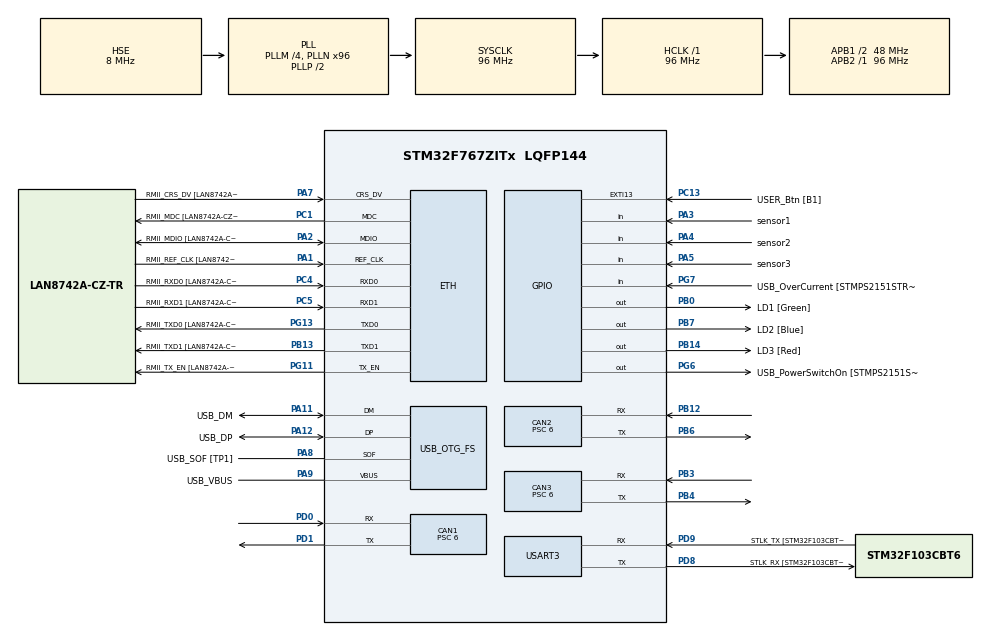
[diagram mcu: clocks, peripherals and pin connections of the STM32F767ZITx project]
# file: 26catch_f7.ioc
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CAN1.BS1=CAN_BS1_6TQ
CAN1.CalculateBaudRate=1000000
CAN1.CalculateTimeBit=1000
CAN1.CalculateTimeQuantum=125.0
CAN1.Prescaler=6
CAN1.TXFP=ENABLE
CAN2.BS1=CAN_BS1_6TQ
CAN2.CalculateBaudRate=1000000
CAN2.CalculateTimeBit=1000
CAN2.CalculateTimeQuantum=125.0
CAN2.Prescaler=6
CAN2.TXFP=ENABLE
CAN3.AutoBusOff=ENABLE
CAN3.AutoRetransmission=ENABLE
CAN3.BS1=CAN_BS1_6TQ
CAN3.CalculateBaudRate=1000000
CAN3.CalculateTimeBit=1000
CAN3.CalculateTimeQuantum=125.0
CAN3.Prescaler=6
CAN3.TXFP=ENABLE
CORTEX_M7.default_mode_Activation=1
ETH.MediaInterface=HAL_ETH_RMII_MODE
ETH.PHY_Name=LAN8742A_PHY_ADDRESS
ETH.PHY_Value=0
ETH.PhyAddress=0
FREERTOS.Tasks01=MROSTask,0,4096,StartMROSTask,Default,NULL,Static,defaultTaskBuffer,defaultTaskControlBlock;CanDevicesTask,0,1024,StartCanDevicesTask,Default,NULL,Static,CanDevicesTaskBuffer,CanDevicesTaskControlBlock;RobstrideTask,1,256,StartRobstrideTask,Default,NULL,Static,RobstrideTaskBuffer,RobstrideTaskControlBlock;RobomasTask,1,256,StartRobomasTask,Default,NULL,Static,RobomasTaskBuffer,RobomasTaskControlBlock
FREERTOS.configENABLE_FPU=1
FREERTOS.configUSE_TIMERS=1
LWIP.BSP.number=1
LWIP.IP_ADDRESS=192.168.005.010
LWIP.LWIP_DHCP=0
LWIP.LWIP_SO_RCVTIMEO=1
LWIP.NETMASK_ADDRESS=255.255.255.000
LWIP.Version=v2.1.2_Cube
LWIP0.BSP.STBoard=false
LWIP0.BSP.api=BSP_COMPONENT_DRIVER
LWIP0.BSP.component=LAN8742
LWIP0.BSP.instance=LAN8742
LWIP0.BSP.name=Driver_PHY
LWIP0.BSP.semaphore=S_LAN8742
LWIP0.BSP.solution=LAN8742
Mcu.Family=STM32F7
Mcu.Name=STM32F767ZITx
Mcu.Package=LQFP144
NVIC.CAN1_RX0_IRQn=true\:5\:0\:false\:false\:true\:true\:true\:true\:true
NVIC.CAN1_RX1_IRQn=true\:5\:0\:false\:false\:true\:true\:true\:true\:true
NVIC.CAN1_TX_IRQn=true\:5\:0\:false\:false\:true\:true\:true\:true\:true
NVIC.CAN2_RX0_IRQn=true\:5\:0\:false\:false\:true\:true\:true\:true\:true
NVIC.CAN2_RX1_IRQn=true\:5\:0\:false\:false\:true\:true\:true\:true\:true
NVIC.CAN2_TX_IRQn=true\:5\:0\:false\:false\:true\:true\:true\:true\:true
NVIC.CAN3_RX0_IRQn=true\:5\:0\:false\:false\:true\:true\:true\:true\:true
NVIC.CAN3_RX1_IRQn=true\:5\:0\:false\:false\:true\:true\:true\:true\:true
NVIC.CAN3_SCE_IRQn=true\:5\:0\:false\:false\:true\:true\:true\:true\:true
NVIC.CAN3_TX_IRQn=true\:5\:0\:false\:false\:true\:true\:true\:true\:true
NVIC.ETH_IRQn=true\:5\:0\:false\:false\:true\:true\:false\:true\:true
NVIC.PriorityGroup=NVIC_PRIORITYGROUP_4
NVIC.TIM1_UP_TIM10_IRQn=true\:15\:0\:false\:false\:true\:false\:false\:true\:true
NVIC.TimeBase=TIM1_UP_TIM10_IRQn
NVIC.TimeBaseIP=TIM1
PA1.GPIO_Label=RMII_REF_CLK [LAN8742A-CZ-TR_REFCLK0]
PA1.Mode=RMII
PA1.Signal=ETH_REF_CLK
PA10.GPIO_Label=USB_ID
PA10.Signal=USB_OTG_FS_ID
PA11.GPIO_Label=USB_DM
PA11.Mode=Device_Only
PA11.Signal=USB_OTG_FS_DM
PA12.GPIO_Label=USB_DP
PA12.Mode=Device_Only
PA12.Signal=USB_OTG_FS_DP
PA13.GPIO_Label=TMS
PA13.Mode=Serial_Wire
PA13.Signal=SYS_JTMS-SWDIO
PA14.GPIO_Label=TCK
PA14.Mode=Serial_Wire
PA14.Signal=SYS_JTCK-SWCLK
PA2.GPIO_Label=RMII_MDIO [LAN8742A-CZ-TR_MDIO]
PA2.Mode=RMII
PA2.Signal=ETH_MDIO
PA3.GPIO_Label=sensor1
PA3.GPIO_PuPd=GPIO_PULLUP
PA3.Signal=GPIO_Input
PA4.GPIO_Label=sensor2
PA4.GPIO_PuPd=GPIO_PULLUP
PA4.Signal=GPIO_Input
PA5.GPIO_Label=sensor3
PA5.GPIO_PuPd=GPIO_PULLUP
PA5.Signal=GPIO_Input
PA7.GPIO_Label=RMII_CRS_DV [LAN8742A-CZ-TR_CRS_DV]
PA7.Mode=RMII
PA7.Signal=ETH_CRS_DV
PA8.GPIO_Label=USB_SOF [TP1]
PA8.Mode=Activate_SOF_FS
PA8.Signal=USB_OTG_FS_SOF
PA9.GPIO_Label=USB_VBUS
PA9.Mode=Activate_VBUS
PA9.Signal=USB_OTG_FS_VBUS
PB0.GPIO_Label=LD1 [Green]
PB0.Signal=GPIO_Output
PB12.Mode=CAN_Activate
PB12.Signal=CAN2_RX
PB13.GPIO_Label=RMII_TXD1 [LAN8742A-CZ-TR_TXD1]
PB13.Mode=RMII
PB13.Signal=ETH_TXD1
PB14.GPIO_Label=LD3 [Red]
PB14.Signal=GPIO_Output
PB3.Mode=CAN_Activate
PB3.Signal=CAN3_RX
PB4.Mode=CAN_Activate
PB4.Signal=CAN3_TX
PB6.Mode=CAN_Activate
PB6.Signal=CAN2_TX
PB7.GPIO_Label=LD2 [Blue]
PB7.Signal=GPIO_Output
PC1.GPIO_Label=RMII_MDC [LAN8742A-CZ-TR_MDC]
PC1.Mode=RMII
PC1.Signal=ETH_MDC
PC13.GPIO_Label=USER_Btn [B1]
PC13.Signal=GPXTI13
PC14/OSC32_IN.Mode=LSE-External-Oscillator
PC14/OSC32_IN.Signal=RCC_OSC32_IN
PC15/OSC32_OUT.Mode=LSE-External-Oscillator
PC15/OSC32_OUT.Signal=RCC_OSC32_OUT
PC4.GPIO_Label=RMII_RXD0 [LAN8742A-CZ-TR_RXD0]
PC4.Mode=RMII
PC4.Signal=ETH_RXD0
PC5.GPIO_Label=RMII_RXD1 [LAN8742A-CZ-TR_RXD1]
PC5.Mode=RMII
PC5.Signal=ETH_RXD1
PD0.Mode=CAN_Activate
PD0.Signal=CAN1_RX
PD1.Mode=CAN_Activate
PD1.Signal=CAN1_TX
PD8.GPIO_Label=STLK_RX [STM32F103CBT6_PA3]
PD8.Mode=Asynchronous
PD8.Signal=USART3_TX
PD9.GPIO_Label=STLK_TX [STM32F103CBT6_PA2]
PD9.Mode=Asynchronous
PD9.Signal=USART3_RX
PG11.GPIO_Label=RMII_TX_EN [LAN8742A-CZ-TR_TXEN]
PG11.Mode=RMII
PG11.Signal=ETH_TX_EN
PG13.GPIO_Label=RMII_TXD0 [LAN8742A-CZ-TR_TXD0]
PG13.Mode=RMII
PG13.Signal=ETH_TXD0
PG6.GPIO_Label=USB_PowerSwitchOn [STMPS2151STR_EN]
PG6.Signal=GPIO_Output
PG7.GPIO_Label=USB_OverCurrent [STMPS2151STR_FAULT]
PG7.Signal=GPIO_Input
PH0/OSC_IN.GPIO_Label=MCO [STM32F103CBT6_PA8]
PH0/OSC_IN.Mode=HSE-External-Clock-Source
PH0/OSC_IN.Signal=RCC_OSC_IN
PH1/OSC_OUT.Mode=HSE-External-Clock-Source
PH1/OSC_OUT.Signal=RCC_OSC_OUT
ProjectManager.HeapSize=0x200
ProjectManager.StackSize=0x400
ProjectManager.TargetToolchain=CMake
RCC.48MHZClocksFreq_Value=24000000
RCC.AHBFreq_Value=96000000
RCC.APB1CLKDivider=RCC_HCLK_DIV2
RCC.APB1Freq_Value=48000000
RCC.APB1TimFreq_Value=96000000
RCC.APB2Freq_Value=96000000
RCC.APB2TimFreq_Value=96000000
RCC.CortexFreq_Value=96000000
RCC.HCLKFreq_Value=96000000
RCC.HSE_VALUE=8000000
RCC.HSI_VALUE=16000000
RCC.PLLM=4
RCC.PLLMUL=RCC_PLL_MUL9
RCC.PLLN=96
RCC.PLLQ=4
RCC.PRESCALERUSB=RCC_USBCLKSOURCE_PLL_DIV1_5
RCC.SYSCLKFreq_VALUE=96000000
RCC.SYSCLKSource=RCC_SYSCLKSOURCE_PLLCLK
RCC.SYSCLKSourceVirtual=RCC_SYSCLKSOURCE_PLLCLK
RCC.USBFreq_Value=48000000
RCC.VCOOutputFreq_Value=192000000
USART3.VirtualMode-Asynchronous=VM_ASYNC
USB_OTG_FS.VirtualMode=Device_Only
VP_FREERTOS_VS_CMSIS_V1.Mode=CMSIS_V1
VP_LWIP_VS_Enabled.Mode=Enabled
VP_SYS_VS_tim1.Mode=TIM1
board=NUCLEO-F767ZI

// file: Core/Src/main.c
/* USER CODE BEGIN Header */
/**
  ******************************************************************************
  * @file           : main.c
  * @brief          : Main program body
  ******************************************************************************
  * @attention
  *
  * Copyright (c) 2026 STMicroelectronics.
  * All rights reserved.
  *
  * This software is licensed under terms that can be found in the LICENSE file
  * in the root directory of this software component.
  * If no LICENSE file comes with this software, it is provided AS-IS.
  *
  ******************************************************************************
  */
/* USER CODE END Header */
#include "main.h"
#include "cmsis_os.h"
#include "can.h"
#include "lwip.h"
#include "usart.h"
#include "usb_otg.h"
#include "gpio.h"

/* USER CODE BEGIN Includes */
#include "math.h"

#include "CAN_Main.h"
#include "can_devices.h"

#include "CAN_Robstride.h"
#include "CAN_Robstride_Def.h"
#include "Robstride_utils.h"

#include "CAN_RoboMas.h"
#include "CAN_RoboMas_Def.h"
#include "RoboMas_utils.h"
/* USER CODE END Includes */

void SystemClock_Config(void);
static void MPU_Config(void);
void MX_FREERTOS_Init(void);

/* USER CODE BEGIN 0 */
#ifdef __GNUC__
#define PUTCHAR_PROTOTYPE int __io_putchar(uint8_t ch)
#else
#define PUTCHAR_PROTOTYPE int fputc(int ch, FILE *f)
#endif /* __GNUC__ */

PUTCHAR_PROTOTYPE {
    HAL_UART_Transmit(&huart3, &ch, 1, 500);
    return ch;
}

void HAL_CAN_TxMailbox0CompleteCallback(CAN_HandleTypeDef *hcan){
  CANLib_WhenTxMailbox0_1_2CompleteCallbackCalled(hcan);
  RoboMas_WhenTxMailboxCompleteCallbackCalled(hcan);
  Robstride_WhenTxMailboxCompleteCallbackCalled(hcan);
}

void HAL_CAN_TxMailbox0AbortCallback(CAN_HandleTypeDef *hcan){
  CANLib_WhenTxMailbox0_1_2AbortCallbackCalled(hcan);
  RoboMas_WhenTxMailboxAbortCallbackCalled(hcan);
  Robstride_WhenTxMailboxAbortCallbackCalled(hcan);
}

void HAL_CAN_TxMailbox1CompleteCallback(CAN_HandleTypeDef *hcan){
  CANLib_WhenTxMailbox0_1_2CompleteCallbackCalled(hcan);
  RoboMas_WhenTxMailboxCompleteCallbackCalled(hcan);
  Robstride_WhenTxMailboxCompleteCallbackCalled(hcan);
}

void HAL_CAN_TxMailbox1AbortCallback(CAN_HandleTypeDef *hcan){
  CANLib_WhenTxMailbox0_1_2AbortCallbackCalled(hcan);
  RoboMas_WhenTxMailboxAbortCallbackCalled(hcan);
  Robstride_WhenTxMailboxAbortCallbackCalled(hcan);
}

void HAL_CAN_TxMailbox2CompleteCallback(CAN_HandleTypeDef *hcan){
  CANLib_WhenTxMailbox0_1_2CompleteCallbackCalled(hcan);
  RoboMas_WhenTxMailboxCompleteCallbackCalled(hcan);
  Robstride_WhenTxMailboxCompleteCallbackCalled(hcan);
}

void HAL_CAN_TxMailbox2AbortCallback(CAN_HandleTypeDef *hcan){
  CANLib_WhenTxMailbox0_1_2AbortCallbackCalled(hcan);
  RoboMas_WhenTxMailboxAbortCallbackCalled(hcan);
  Robstride_WhenTxMailboxAbortCallbackCalled(hcan);
}

void HAL_CAN_RxFifo0MsgPendingCallback(CAN_HandleTypeDef *hcan){
  CANLib_WhenCANRxFifo0MsgPending(hcan, &num_of_devices);
  RoboMas_WhenCANRxFifo0MsgPending(hcan);
  Robstride_WhenCANRxFifo0MsgPending(hcan);
}

void HAL_CAN_RxFifo1MsgPendingCallback(CAN_HandleTypeDef *hcan){
  CANLib_WhenCANRxFifo1MsgPending(hcan, &num_of_devices);
  RoboMas_WhenCANRxFifo1MsgPending(hcan);
  Robstride_WhenCANRxFifo1MsgPending(hcan);
}

/* CANエラーはISR内でログ出力せず、Robstride側の診断カウンタへ渡す。 */
void HAL_CAN_ErrorCallback(CAN_HandleTypeDef *hcan){
  Robstride_WhenCANErrorCallbackCalled(hcan);
}
/* USER CODE END 0 */

int main(void)
{

  /* MPU Configuration--------------------------------------------------------*/
  MPU_Config();

  /* MCU Configuration--------------------------------------------------------*/

  /* Reset of all peripherals, Initializes the Flash interface and the Systick. */
  HAL_Init();

  /* Configure the system clock */
  SystemClock_Config();

  /* Initialize all configured peripherals */
  MX_GPIO_Init();
  MX_USART3_UART_Init();
  MX_USB_OTG_FS_PCD_Init();
  MX_CAN1_Init();
  MX_CAN2_Init();
  MX_CAN3_Init();
  /* USER CODE BEGIN 2 */
  HAL_GPIO_WritePin(GPIOB, GPIO_PIN_7, GPIO_PIN_SET); // LD3 (RED) -> ON
  /*
   * Prepare CAN devices before the scheduler, but leave the blocking
   * Robstride_WaitForConnect() and the remaining setup to CanDevicesTask.
   * This lets micro-ROS start while the connection check is waiting.
   */
  /* CAN2共用配線。今回はC620 ID3のみ登録し、他機器は制御しない。 */
  CanDevices_InitBeforeWait(&hcan2, &hcan3, HAL_Delay);

  /* USER CODE END 2 */

  /* Call init function for freertos objects (in cmsis_os2.c) */
  MX_FREERTOS_Init();

  /* Start scheduler */
  osKernelStart();

  /* We should never get here as control is now taken by the scheduler */

  /* Infinite loop */
  while (1)
  {

  }
}

void SystemClock_Config(void)
{
  RCC_OscInitTypeDef RCC_OscInitStruct = {0};
  RCC_ClkInitTypeDef RCC_ClkInitStruct = {0};

  /** Configure LSE Drive Capability
  */
  HAL_PWR_EnableBkUpAccess();

  /** Configure the main internal regulator output voltage
  */
  __HAL_RCC_PWR_CLK_ENABLE();
  __HAL_PWR_VOLTAGESCALING_CONFIG(PWR_REGULATOR_VOLTAGE_SCALE3);

  /** Initializes the RCC Oscillators according to the specified parameters
  * in the RCC_OscInitTypeDef structure.
  */
  RCC_OscInitStruct.OscillatorType = RCC_OSCILLATORTYPE_HSE;
  RCC_OscInitStruct.HSEState = RCC_HSE_BYPASS;
  RCC_OscInitStruct.PLL.PLLState = RCC_PLL_ON;
  RCC_OscInitStruct.PLL.PLLSource = RCC_PLLSOURCE_HSE;
  RCC_OscInitStruct.PLL.PLLM = 4;
  RCC_OscInitStruct.PLL.PLLN = 96;
  RCC_OscInitStruct.PLL.PLLP = RCC_PLLP_DIV2;
  RCC_OscInitStruct.PLL.PLLQ = 4;
  RCC_OscInitStruct.PLL.PLLR = 2;
  if (HAL_RCC_OscConfig(&RCC_OscInitStruct) != HAL_OK)
  {
    Error_Handler();
  }

  /** Activate the Over-Drive mode
  */
  if (HAL_PWREx_EnableOverDrive() != HAL_OK)
  {
    Error_Handler();
  }

  /** Initializes the CPU, AHB and APB buses clocks
  */
  RCC_ClkInitStruct.ClockType = RCC_CLOCKTYPE_HCLK|RCC_CLOCKTYPE_SYSCLK
                              |RCC_CLOCKTYPE_PCLK1|RCC_CLOCKTYPE_PCLK2;
  RCC_ClkInitStruct.SYSCLKSource = RCC_SYSCLKSOURCE_PLLCLK;
  RCC_ClkInitStruct.AHBCLKDivider = RCC_SYSCLK_DIV1;
  RCC_ClkInitStruct.APB1CLKDivider = RCC_HCLK_DIV2;
  RCC_ClkInitStruct.APB2CLKDivider = RCC_HCLK_DIV1;

  if (HAL_RCC_ClockConfig(&RCC_ClkInitStruct, FLASH_LATENCY_3) != HAL_OK)
  {
    Error_Handler();
  }
}

 /* MPU Configuration */

void MPU_Config(void)
{
  MPU_Region_InitTypeDef MPU_InitStruct = {0};

  /* Disables the MPU */
  HAL_MPU_Disable();

  /** Initializes and configures the Region and the memory to be protected
  */
  MPU_InitStruct.Enable = MPU_REGION_ENABLE;
  MPU_InitStruct.Number = MPU_REGION_NUMBER0;
  MPU_InitStruct.BaseAddress = 0x0;
  MPU_InitStruct.Size = MPU_REGION_SIZE_4GB;
  MPU_InitStruct.SubRegionDisable = 0x87;
  MPU_InitStruct.TypeExtField = MPU_TEX_LEVEL0;
  MPU_InitStruct.AccessPermission = MPU_REGION_NO_ACCESS;
  MPU_InitStruct.DisableExec = MPU_INSTRUCTION_ACCESS_DISABLE;
  MPU_InitStruct.IsShareable = MPU_ACCESS_SHAREABLE;
  MPU_InitStruct.IsCacheable = MPU_ACCESS_NOT_CACHEABLE;
  MPU_InitStruct.IsBufferable = MPU_ACCESS_NOT_BUFFERABLE;

  HAL_MPU_ConfigRegion(&MPU_InitStruct);
  /* Enables the MPU */
  HAL_MPU_Enable(MPU_PRIVILEGED_DEFAULT);

}

void HAL_TIM_PeriodElapsedCallback(TIM_HandleTypeDef *htim)
{
  if (htim->Instance == TIM1)
  {
    HAL_IncTick();
  }
}

void Error_Handler(void)
{
  __disable_irq();
  while (1)
  {
  }
}

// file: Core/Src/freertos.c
/* USER CODE BEGIN Header */
/**
  ******************************************************************************
  * File Name          : freertos.c
  * Description        : Code for freertos applications
  ******************************************************************************
  * @attention
  *
  * Copyright (c) 2026 STMicroelectronics.
  * All rights reserved.
  *
  * This software is licensed under terms that can be found in the LICENSE file
  * in the root directory of this software component.
  * If no LICENSE file comes with this software, it is provided AS-IS.
  *
  ******************************************************************************
  */
/* USER CODE END Header */

#include "FreeRTOS.h"
#include "task.h"
#include "main.h"
#include "control_period.h"
#include "cmsis_os.h"

/* USER CODE BEGIN Includes */
#include <stdbool.h>
#include <stdio.h>

#include "can.h"
#include "usart.h"
#include "CAN_Main.h"
#include "can_devices.h"
#include "CAN_Robstride.h"
#include "CAN_Robstride_Def.h"
#include "Robstride_utils.h"
#include "robstride_constant.h"
#include "arm_test_config.h"
#include "CAN_RoboMas.h"
#include "CAN_RoboMas_Def.h"
#include "RoboMas_utils.h"
#include "microros_app.h"
/* USER CODE END Includes */

/* USER CODE BEGIN Variables */
/* micro-ROS 本体は Core/Src/microros_app.c に分離している。 */
/* USER CODE END Variables */
osThreadId MROSTaskHandle;
uint32_t defaultTaskBuffer[ 4096 ];
osStaticThreadDef_t defaultTaskControlBlock;
osThreadId CanDevicesTaskHandle;
uint32_t CanDevicesTaskBuffer[1024];
osStaticThreadDef_t CanDevicesTaskControlBlock;
osThreadId RobstrideTaskHandle;
uint32_t RobstrideTaskBuffer[ 2048 ];
osStaticThreadDef_t RobstrideTaskControlBlock;
osThreadId RobomasTaskHandle;
uint32_t RobomasTaskBuffer[ 1024 ];
osStaticThreadDef_t RobomasTaskControlBlock;

/*
 * MX_LWIP_Init() creates the Ethernet/LwIP objects and enables the ETH
 * receive path. Keep motor post-initialization behind this barrier so a
 * link-up packet cannot arrive while the CAN device tasks are starting.
 */
static volatile bool ethernet_init_complete = false;
/* 最小未使用スタック量[B]。実機復帰後にデバッガで負荷時の余裕を確認する。 */
volatile uint32_t robstride_stack_free_min_bytes;
volatile uint32_t robomas_stack_free_min_bytes;

void StartMROSTask(void const *argument);
void StartCanDevicesTask(void const *argument);
void StartRobstrideTask(void const *argument);
void StartRobomasTask(void const *argument);

/*
 * Robstride_WaitForConnect() is blocking by design, but it must yield when
 * called from a FreeRTOS task.  HAL_Delay() busy-waits on this target and can
 * starve the lower-priority Ethernet link task while a motor is absent.
 */
static void CanDevices_RtosDelay(uint32_t milliseconds)
{
  (void)osDelay(milliseconds == 0U ? 1U : milliseconds);
}

extern void MX_LWIP_Init(void);
void MX_FREERTOS_Init(void); /* (MISRA C 2004 rule 8.1) */

/* GetIdleTaskMemory prototype (linked to static allocation support) */
void vApplicationGetIdleTaskMemory( StaticTask_t **ppxIdleTaskTCBBuffer, StackType_t **ppxIdleTaskStackBuffer, uint32_t *pulIdleTaskStackSize );

/* GetTimerTaskMemory prototype (linked to static allocation support) */
void vApplicationGetTimerTaskMemory( StaticTask_t **ppxTimerTaskTCBBuffer, StackType_t **ppxTimerTaskStackBuffer, uint32_t *pulTimerTaskStackSize );

/* USER CODE BEGIN GET_IDLE_TASK_MEMORY */
static StaticTask_t xIdleTaskTCBBuffer;
static StackType_t xIdleStack[configMINIMAL_STACK_SIZE];

void vApplicationGetIdleTaskMemory(StaticTask_t **ppxIdleTaskTCBBuffer,
                                   StackType_t **ppxIdleTaskStackBuffer,
                                   uint32_t *pulIdleTaskStackSize)
{
  *ppxIdleTaskTCBBuffer = &xIdleTaskTCBBuffer;
  *ppxIdleTaskStackBuffer = &xIdleStack[0];
  *pulIdleTaskStackSize = configMINIMAL_STACK_SIZE;
  /* place for user code */
}
/* USER CODE END GET_IDLE_TASK_MEMORY */

/* USER CODE BEGIN GET_TIMER_TASK_MEMORY */
static StaticTask_t xTimerTaskTCBBuffer;
static StackType_t xTimerStack[configTIMER_TASK_STACK_DEPTH];

void vApplicationGetTimerTaskMemory(StaticTask_t **ppxTimerTaskTCBBuffer,
                                    StackType_t **ppxTimerTaskStackBuffer,
                                    uint32_t *pulTimerTaskStackSize)
{
  *ppxTimerTaskTCBBuffer = &xTimerTaskTCBBuffer;
  *ppxTimerTaskStackBuffer = &xTimerStack[0];
  *pulTimerTaskStackSize = configTIMER_TASK_STACK_DEPTH;
  /* place for user code */
}
/* USER CODE END GET_TIMER_TASK_MEMORY */

void MX_FREERTOS_Init(void) {
  /* USER CODE BEGIN Init */
  ethernet_init_complete = false;
  /* USER CODE END Init */

  /* Create the thread(s) */
  /* definition and creation of MROSTask */
  osThreadStaticDef(MROSTask, StartMROSTask, osPriorityNormal, 0, 4096, defaultTaskBuffer, &defaultTaskControlBlock);
  MROSTaskHandle = osThreadCreate(osThread(MROSTask), NULL);

  osThreadStaticDef(CanDevicesTask,
                    StartCanDevicesTask,
                    osPriorityNormal,
                    0,
                    1024,
                    CanDevicesTaskBuffer,
                    &CanDevicesTaskControlBlock);
  CanDevicesTaskHandle = osThreadCreate(osThread(CanDevicesTask), NULL);

  osThreadStaticDef(RobstrideTask,
                    StartRobstrideTask,
                    /* ROS過負荷時にもCAN制御・診断タスクを止めない。 */
                    osPriorityAboveNormal,
                    0,
                    2048,
                    RobstrideTaskBuffer,
                    &RobstrideTaskControlBlock);
  RobstrideTaskHandle = osThreadCreate(osThread(RobstrideTask), NULL);

  osThreadStaticDef(RobomasTask,
                    StartRobomasTask,
                    /* Motor control must not be starved by Ethernet traffic. */
                    osPriorityAboveNormal,
                    0,
                    1024,
                    RobomasTaskBuffer,
                    &RobomasTaskControlBlock);
  RobomasTaskHandle = osThreadCreate(osThread(RobomasTask), NULL);

}

void StartMROSTask(void const * argument)
{
  (void)argument;

  /* init code for LWIP */
  MX_LWIP_Init();

  /* Publish the barrier only after all LwIP/ETH objects have been created. */
  __DMB();
  ethernet_init_complete = true;

  /* USER CODE BEGIN StartMROSTask */
  MicroRosTask_Run();
  /* USER CODE END StartMROSTask */
}

/* USER CODE BEGIN Header_StartCanDevicesTask */
/**
* @brief Run the existing blocking motor connection wait after the scheduler
*        has started, so it cannot prevent micro-ROS from coming up.
* @param argument: Not used
* @retval None
*/
/* USER CODE END Header_StartCanDevicesTask */
void StartCanDevicesTask(void const *argument)
{
  /* USER CODE BEGIN StartCanDevicesTask */
  (void)argument;

  /* Do not overlap CAN motor setup with LwIP/ETH creation. */
  while (!ethernet_init_complete) {
    osDelay(10U);
  }

  CanDevices_InitAfterWait(CanDevices_RtosDelay);
  for (;;) {
    osDelay(1000U);
  }
  /* USER CODE END StartCanDevicesTask */
}

#if ROBOMAS_DEVICE_COUNT > 0U
/* フィードバックが準備できたモーターだけを個別にキャリブレーションする。 */
static void start_robomas_calibration_if_ready(
    bool calibration_started[ROBOMAS_DEVICE_STORAGE_COUNT])
{
  if (ARM_TEST_DISABLE_ROBOMASTER) return;
#if ROBOMAS_C610_COUNT > 0U
  if (!calibration_started[0] && robomas_fb[0].get_flag != 0U) {
    printf("[RoboMas] ID %u feedback ready; calibration start\r\n",
           (unsigned int)robomas_dev_info_global[0].device_id);
    RoboMas_Calibration(&robomas_dev_info_global[0],
                        -40.0f,
                        ROBOMAS_SWITCH_NO,
                        sensor2_GPIO_Port,
                        sensor2_Pin,
                        &hcan2);
    calibration_started[0] = true;
  }
#endif

#if ROBOMAS_C610_COUNT > 1U
  /* 統合構成ではID1も既存のSensor1校正経路を使用する。 */
  if (!calibration_started[1] && robomas_fb[1].get_flag != 0U) {
    printf("[RoboMas] ID %u feedback ready; calibration start\r\n",
           (unsigned int)robomas_dev_info_global[1].device_id);
    RoboMas_Calibration(&robomas_dev_info_global[1],
                        -40.0f,
                        ROBOMAS_SWITCH_NO,
                        sensor1_GPIO_Port,
                        sensor1_Pin,
                        &hcan2);
    calibration_started[1] = true;
  }
#endif
}
#endif

void StartRobstrideTask(void const * argument)
{
  /* USER CODE BEGIN StartRobstrideTask */
  (void)argument;

  /* CanDevicesTask owns the blocking connection wait and final setup. */
  while (!CanDevices_IsInitialized()) {
    osDelay(10U);
  }

  uint8_t feedback_divider = 0U;
  TickType_t robstride_last_wake_time = xTaskGetTickCount();
  TickType_t robstride_stack_check = robstride_last_wake_time;
  for (;;) {
    if (xTaskGetTickCount()-robstride_stack_check >= pdMS_TO_TICKS(1000)) {
      robstride_stack_free_min_bytes = uxTaskGetStackHighWaterMark(NULL)*sizeof(StackType_t);
      robstride_stack_check = xTaskGetTickCount();
    }
    MicroRos_CheckRobstrideCommandTimeout();

    /* ROS受信とCAN送信を分離し、ここをRobstrideの制御周期にする。 */
    MicroRos_ApplyPendingRobstrideCommands();
    MicroRos_ReportDiagnostics();

    /* 目標値の入力はSetTarget()へ集約し、VEL_DOBも同じ経路で500 Hz実行する。 */
    MicroRos_RefreshRobstrideTargets();
    Robstride_FastLogIdleProbe(); /* 非動作時のRAM連続書き込み検証。DOB開始後は無効。 */

    /* Enable中はPPを含めType2応答に統一する。
     * Disable中だけ全項目100Hzのパラメーター読み取りを行う。 */
    ++feedback_divider;
    for (uint8_t i = 0U; i < ROBSTRIDE_DEVICE_COUNT; ++i) {
      Robstride_DeviceInfo *dev=&robstride_dev_info_global[i];
      Robstride_CurrentDiagnosticPoll(dev); /* 一時的な肘の電流追従検証。応答待ちはしない。 */
      if (Robstride_UsesStandardFeedback(dev)) {
        feedback_data[i]=Read_Robstride_FeedbackData(dev);
      } else if (!dev->ctrl_param._enable_flag && feedback_divider >= ARM_TEST_FB_DIVIDER) {
        feedback_data[i] = Get_Robstride_FeedbackData(
            dev);
      }
    }
    if (feedback_divider >= ARM_TEST_FB_DIVIDER) {
      feedback_divider = 0U;
    }

    HAL_GPIO_TogglePin(GPIOB, GPIO_PIN_0);
    /* 長いservice待ちの後にcatch-up連続計算を行わない。 */
    robstride_last_wake_time=ControlPeriod_Rebase(robstride_last_wake_time,
                                                xTaskGetTickCount(),pdMS_TO_TICKS(2U));
    vTaskDelayUntil(&robstride_last_wake_time,pdMS_TO_TICKS(2U));
  }
  /* USER CODE END StartRobstrideTask */
}

void StartRobomasTask(void const * argument)
{
  /* USER CODE BEGIN StartRobomasTask */
  bool calibration_started[ROBOMAS_DEVICE_STORAGE_COUNT] = {false};
#if ROBOMAS_DEVICE_COUNT > 0U
  bool robomas_feedback_wait_logged[ROBOMAS_DEVICE_STORAGE_COUNT] = {false};
#endif
#if ROBOMAS_C610_COUNT > 0U
  bool calibration_first_done_printed = false;
#if ROBOMAS_C610_COUNT > 1U
  bool calibration_second_done_printed = false;
#endif
#endif

  (void)argument;

  TickType_t robomas_last_wake_time = xTaskGetTickCount();
  TickType_t robomas_stack_check = robomas_last_wake_time;

#if ROBOMAS_DEVICE_COUNT > 0U
  printf("[RoboMas] task started; prepared=%u ethernet=%u\r\n",
         (unsigned)CanDevices_IsPrepared(),
         (unsigned)ethernet_init_complete);
#endif

  for (;;) {
#if ROBOMAS_DEVICE_COUNT > 0U
    /* 初期化未完了時もタスクを止めず、安全な状態で次周期へ進む。 */
    if (CanDevices_IsPrepared()) {
      MicroRos_CheckRobomasCommandTimeout();

      /* 接続待ちを行わず、受信済みフィードバックを毎周期更新する。 */
      for (uint8_t i = 0U; i < num_of_robomas; ++i) {
        const RoboMas_FeedbackData feedback =
            Get_RoboMas_FeedbackData(&robomas_dev_info_global[i]);
        robomas_fb[i] = feedback;
        if ((feedback.get_flag == 0U) &&
            !robomas_feedback_wait_logged[i]) {
          printf("[RoboMas] ID %u waiting for CAN feedback\r\n",
                 (unsigned)robomas_dev_info_global[i].device_id);
          robomas_feedback_wait_logged[i] = true;
        }
      }

      /* Ethernet初期化完了後、準備できたモーターから順に開始する。 */
      if (ethernet_init_complete) {
        start_robomas_calibration_if_ready(calibration_started);
      }

      /* C620の初回受信までは送信しない。接続後は途絶時もゼロ送信経路を維持。 */
      static bool robomas_received_once = false;
      for (uint8_t i = 0U; i < num_of_robomas; ++i) {
        if (robomas_fb[i].get_flag) robomas_received_once = true;
      }
      if (robomas_received_once) {
      RoboMas_SendRequest(robomas_dev_info_global,
                          num_of_robomas,
                          500.0f,
                          &hcan2);
      }

#if ROBOMAS_C610_COUNT > 0U
    /* 各モーターの完了を個別に通知する。 */
    if (!calibration_first_done_printed &&
        RoboMas_IsCalibrationEnded(&robomas_dev_info_global[0])) {
      printf("Calibration 1 done.\r\n");
      calibration_first_done_printed = true;
    }

#if ROBOMAS_C610_COUNT > 1U
    if (!calibration_second_done_printed &&
        RoboMas_IsCalibrationEnded(&robomas_dev_info_global[1])) {
      printf("Calibration 2 done.\r\n");
      calibration_second_done_printed = true;
    }
#endif
#endif
    }
#endif
    /* 未接続モーターがあっても周期処理を止めない。 */
    if (xTaskGetTickCount()-robomas_stack_check >= pdMS_TO_TICKS(1000)) {
      robomas_stack_free_min_bytes = uxTaskGetStackHighWaterMark(NULL)*sizeof(StackType_t);
      robomas_stack_check = xTaskGetTickCount();
    }
    robomas_last_wake_time=ControlPeriod_Rebase(robomas_last_wake_time,
                                              xTaskGetTickCount(),pdMS_TO_TICKS(2U));
    vTaskDelayUntil(&robomas_last_wake_time, pdMS_TO_TICKS(2U));
  }
  /* USER CODE END StartRobomasTask */
}

/* USER CODE BEGIN Application */
/* micro-ROS の topic 処理は Core/Src/microros_app.c に分離している。 */
/* USER CODE END Application */
